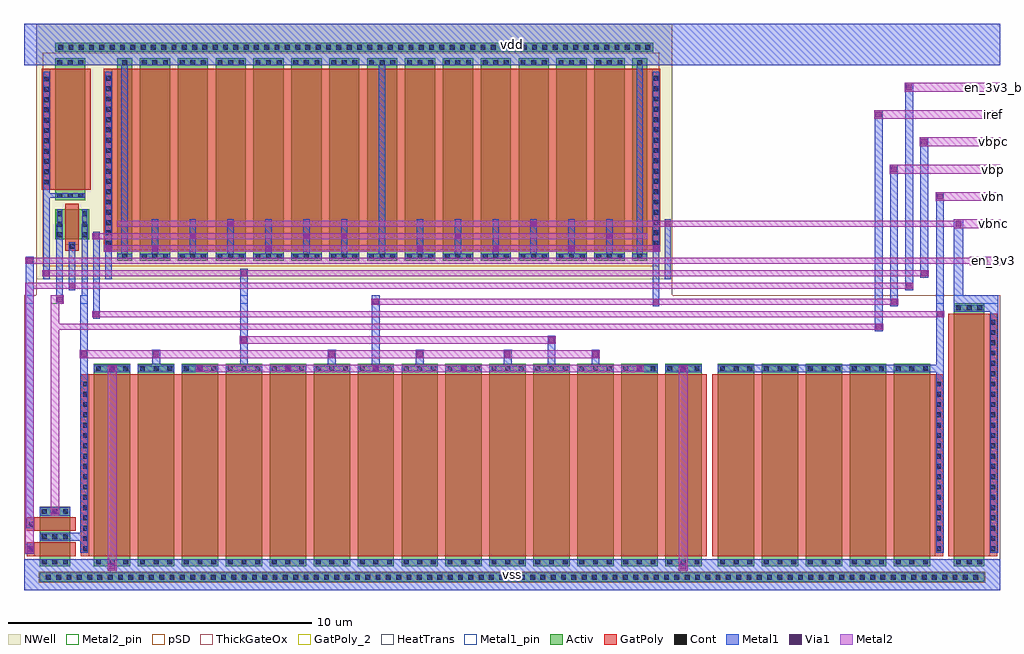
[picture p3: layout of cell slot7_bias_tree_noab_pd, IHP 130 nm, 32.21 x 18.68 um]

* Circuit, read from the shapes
.subckt slot7_bias_tree_noab_pd en_3v3 en_3v3_b iref vbn vbnc vbp vbpc vdd vss
XM1 slot7_tree_nmos_0/ni en_3v3_b vss vss sg13_hv_nmos w=1u l=0.45u
XM2 iref en_3v3 slot7_tree_nmos_0/ni vss sg13_hv_nmos w=1u l=0.45u
XM3 vss slot7_tree_nmos_0/ni vss vss sg13_hv_nmos w=1.2u l=6u m=2
XM4 slot7_tree_nmos_0/ni slot7_tree_nmos_0/ni vss vss sg13_hv_nmos w=1.2u l=6u m=5
XM5 vbp slot7_tree_nmos_0/ni vss vss sg13_hv_nmos w=1.2u l=6u m=5
XM6 vbpc slot7_tree_nmos_0/ni vss vss sg13_hv_nmos w=1.2u l=6u m=2
XM7 vbn vbn vss vss sg13_hv_nmos w=1.2u l=6u m=5
XM8 vbnc vbnc vss vss sg13_hv_nmos w=1u l=8u
XM9 vdd vbpc vbpc vdd sg13_hv_pmos w=1u l=4u
XM10 slot7_tree_nmos_0/ni en_3v3_b iref vdd sg13_hv_pmos w=1u l=0.45u
XM11 vdd vbp vdd vdd sg13_hv_pmos w=0.5u l=6u m=2
XM12 vdd vbp vbp vdd sg13_hv_pmos w=1u l=6u m=5
XM13 vdd vbp vbn vdd sg13_hv_pmos w=1u l=6u m=5
XM14 vdd vbp vbnc vdd sg13_hv_pmos w=1u l=6u m=2
XM15 vdd vbp vdd vdd sg13_hv_pmos w=1u l=6u
.ends

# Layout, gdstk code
from math import pi, radians
import gdstk
lib = gdstk.Library(unit=1e-6, precision=1e-09)
def R(c, l, rs):  # rectangles x0, y0, x1, y1
    for r in rs: c.add(gdstk.rectangle(r[:2], r[2:], *l))
def A(c, l, x, y, w, h, nx, ny, dx, dy):  # array of equal rectangles
    R(c, l, [(x+i*dx, y+j*dy, x+i*dx+w, y+j*dy+h) for i in range(nx) for j in range(ny)])
Activ = (1, 0)
GatPoly = (5, 0)
GatPoly_2 = (5, 2)
Cont = (6, 0)
Metal1 = (8, 0)
Metal1_pin = (8, 2)
Metal2 = (10, 0)
Metal2_pin = (10, 2)
pSD = (14, 0)
Via1 = (19, 0)
NWell = (31, 0)
ThickGateOx = (44, 0)
HeatTrans = (51, 0)

slot7_tree_nmos_nmoshv_w = lib.new_cell('slot7_tree_nmos_nmosHV_w1p2_l6')
R(slot7_tree_nmos_nmoshv_w, Activ, [(0,0,0.3,0.3), (0,0,6.68,1.2), (6.38,0,6.68,0.3)])
R(slot7_tree_nmos_nmoshv_w, GatPoly, [(0.34,-0.18,6.34,1.38)])
R(slot7_tree_nmos_nmoshv_w, GatPoly_2, [(0.34,-0.18,6.34,1.38)])
A(slot7_tree_nmos_nmoshv_w, Cont, 0.07, 0.07, 0.16, 0.16, 1, 3, 0, 0.45)
A(slot7_tree_nmos_nmoshv_w, Cont, 6.45, 0.07, 0.16, 0.16, 1, 3, 0, 0.45)
R(slot7_tree_nmos_nmoshv_w, Metal1, [(0.07,0,0.23,1.2), (6.45,0,6.61,1.2)])
R(slot7_tree_nmos_nmoshv_w, Metal1_pin, [(0.07,0,0.23,1.2), (6.45,0,6.61,1.2)])
R(slot7_tree_nmos_nmoshv_w, ThickGateOx, [(-0.27,-0.52,6.95,1.72)])
R(slot7_tree_nmos_nmoshv_w, HeatTrans, [(0.34,-0.18,6.34,1.38)])
slot7_tree_nmos_nmoshv_w.add(gdstk.Label('nmosHV', (3.34,0.6), layer=63, texttype=0))
slot7_tree_nmos_nmoshv_w.add(gdstk.Label('nmosHV', (3.34,0.6), layer=51, texttype=0))

c_slot7_tree_nmos_nmoshv_w = lib.new_cell('slot7_tree_nmos_nmosHV_w1_l8')
R(c_slot7_tree_nmos_nmoshv_w, Activ, [(0,0,0.3,0.3), (0,0,8.68,1), (8.38,0,8.68,0.3)])
R(c_slot7_tree_nmos_nmoshv_w, GatPoly, [(0.34,-0.18,8.34,1.18)])
R(c_slot7_tree_nmos_nmoshv_w, GatPoly_2, [(0.34,-0.18,8.34,1.18)])
A(c_slot7_tree_nmos_nmoshv_w, Cont, 0.07, 0.07, 0.16, 0.16, 1, 3, 0, 0.35)
A(c_slot7_tree_nmos_nmoshv_w, Cont, 8.45, 0.07, 0.16, 0.16, 1, 3, 0, 0.35)
R(c_slot7_tree_nmos_nmoshv_w, Metal1, [(0.07,0,0.23,1), (8.45,0,8.61,1)])
R(c_slot7_tree_nmos_nmoshv_w, Metal1_pin, [(0.07,0,0.23,1), (8.45,0,8.61,1)])
R(c_slot7_tree_nmos_nmoshv_w, ThickGateOx, [(-0.27,-0.52,8.95,1.52)])
R(c_slot7_tree_nmos_nmoshv_w, HeatTrans, [(0.34,-0.18,8.34,1.18)])
c_slot7_tree_nmos_nmoshv_w.add(gdstk.Label('nmosHV', (4.34,0.5), layer=63, texttype=0))
c_slot7_tree_nmos_nmoshv_w.add(gdstk.Label('nmosHV', (4.34,0.5), layer=51, texttype=0))

c_slot7_tree_nmos_nmoshv_w_ = lib.new_cell('slot7_tree_nmos_nmosHV_w2_l0p45_ng2')
A(c_slot7_tree_nmos_nmoshv_w_, Activ, 0, 0, 0.3, 0.3, 3, 1, 0.83, 0)
R(c_slot7_tree_nmos_nmoshv_w_, Activ, [(0,0,1.96,1)])
R(c_slot7_tree_nmos_nmoshv_w_, GatPoly, [(0.34,-0.18,0.79,1.18), (1.17,-0.18,1.62,1.18)])
R(c_slot7_tree_nmos_nmoshv_w_, GatPoly_2, [(0.34,-0.18,0.79,1.18)])
A(c_slot7_tree_nmos_nmoshv_w_, Cont, 0.07, 0.07, 0.16, 0.16, 3, 3, 0.83, 0.35)
A(c_slot7_tree_nmos_nmoshv_w_, Metal1, 0.07, 0, 0.16, 1, 3, 1, 0.83, 0)
R(c_slot7_tree_nmos_nmoshv_w_, Metal1_pin, [(0.07,0,0.23,1), (0.9,0,1.06,1)])
R(c_slot7_tree_nmos_nmoshv_w_, ThickGateOx, [(-0.27,-0.52,2.23,1.52)])
R(c_slot7_tree_nmos_nmoshv_w_, HeatTrans, [(0.34,-0.18,0.79,1.18), (1.17,-0.18,1.62,1.18)])
c_slot7_tree_nmos_nmoshv_w_.add(gdstk.Label('nmosHV', (0.565,0.5), layer=63, texttype=0))
c_slot7_tree_nmos_nmoshv_w_.add(gdstk.Label('nmosHV', (0.565,0.5), layer=51, texttype=0))
c_slot7_tree_nmos_nmoshv_w_.add(gdstk.Label('nmosHV', (1.395,0.5), layer=51, texttype=0))

slot7_tree_nmos = lib.new_cell('slot7_tree_nmos')
R(slot7_tree_nmos, Activ, [(-1.79,-0.51,29.38,-0.21)])
R(slot7_tree_nmos, GatPoly, [(-2.22,0.34,-1.97,0.79), (-0.43,0.34,-0.18,6.34), (27.77,0.34,28.02,6.34), (29.56,0.34,29.81,8.34), (-2.22,1.17,-1.97,1.62)])
A(slot7_tree_nmos, Cont, -1.585, -0.44, 0.16, 0.16, 91, 1, 0.34, 0)
A(slot7_tree_nmos, Cont, -0.36, 0.5, 0.16, 0.16, 1, 17, 0, 0.34)
A(slot7_tree_nmos, Cont, 27.79, 0.5, 0.16, 0.16, 1, 17, 0, 0.34)
A(slot7_tree_nmos, Cont, 29.58, 0.5, 0.16, 0.16, 1, 23, 0, 0.34)
R(slot7_tree_nmos, Cont, [(-2.15,0.485,-1.99,0.645), (-2.15,1.315,-1.99,1.475)])
A(slot7_tree_nmos, Metal1, 0, 6.4, 1.2, 0.26, 14, 1, 1.45, 0)
A(slot7_tree_nmos, Metal1, 7.72, 6.4, 0.26, 0.745, 4, 1, 2.9, 0)
R(slot7_tree_nmos, Metal1, [(-2.31,-0.78,29.9,0.23), (-2.27,0.42,-1.99,0.745), (-0.46,0.45,-0.2,8.95), (27.79,0.45,28.05,8.95), (29.58,0.45,29.84,8.66), (-1.79,0.85,-0.2,1.11), (-2.25,1.265,-1.99,8.95), (-1.79,1.665,-0.79,1.955), (1.92,6.4,2.18,7.145), (4.82,6.4,5.08,8.95), (9.17,6.4,9.43,8.95), (14.97,6.4,15.23,7.615), (20.59,6.4,28.05,6.66), (28.38,8.4,29.84,8.95)])
R(slot7_tree_nmos, Metal1_pin, [(-2.31,-0.78,-1.31,-0.48), (-2.25,8.66,-1.99,8.95), (-0.46,8.66,-0.2,8.95), (4.82,8.66,5.08,8.95), (9.17,8.66,9.43,8.95), (27.79,8.66,28.05,8.95), (28.38,8.66,29.84,8.95)])
R(slot7_tree_nmos, Metal2, [(0.455,-0.15,0.745,6.645), (19.305,-0.15,19.595,6.645), (-2.27,0.44,-1.99,8.95), (-1.43,1.665,-1.15,8.95), (3.355,6.4,18.145,6.66), (-0.475,6.87,16.695,7.13), (4.805,7.34,15.245,7.6)])
R(slot7_tree_nmos, Metal2_pin, [(-2.27,8.66,-1.99,8.95), (-1.43,8.66,-1.15,8.95)])
R(slot7_tree_nmos, pSD, [(-1.82,-0.54,29.41,-0.18)])
A(slot7_tree_nmos, Via1, 0.505, 6.435, 0.19, 0.19, 5, 1, 2.9, 0)
A(slot7_tree_nmos, Via1, 7.755, 6.905, 0.19, 0.19, 4, 1, 2.9, 0)
R(slot7_tree_nmos, Via1, [(0.505,-0.095,0.695,0.095), (19.355,-0.095,19.545,0.095), (-2.225,0.49,-2.035,0.68), (-1.385,1.715,-1.195,1.905), (17.905,6.435,18.095,6.625), (19.355,6.435,19.545,6.625), (-0.425,6.905,-0.235,7.095), (1.955,6.905,2.145,7.095), (4.855,7.375,5.045,7.565), (15.005,7.375,15.195,7.565)])
R(slot7_tree_nmos, ThickGateOx, [(-2.31,-0.78,29.9,8.95)])
slot7_tree_nmos.add(gdstk.Reference(slot7_tree_nmos_nmoshv_w, (1.45,0), rotation=pi/2, x_reflection=True))
slot7_tree_nmos.add(gdstk.Reference(slot7_tree_nmos_nmoshv_w, (26.39,0), rotation=pi/2, x_reflection=True))
slot7_tree_nmos.add(gdstk.Reference(slot7_tree_nmos_nmoshv_w, (24.94,0), rotation=pi/2, x_reflection=True))
slot7_tree_nmos.add(gdstk.Reference(slot7_tree_nmos_nmoshv_w, (23.49,0), rotation=pi/2, x_reflection=True))
slot7_tree_nmos.add(gdstk.Reference(slot7_tree_nmos_nmoshv_w, (22.04,0), rotation=pi/2, x_reflection=True))
slot7_tree_nmos.add(gdstk.Reference(slot7_tree_nmos_nmoshv_w, (20.59,0), rotation=pi/2, x_reflection=True))
slot7_tree_nmos.add(gdstk.Reference(slot7_tree_nmos_nmoshv_w, (18.85,0), rotation=pi/2, x_reflection=True))
slot7_tree_nmos.add(gdstk.Reference(slot7_tree_nmos_nmoshv_w, (17.4,0), rotation=pi/2, x_reflection=True))
slot7_tree_nmos.add(gdstk.Reference(slot7_tree_nmos_nmoshv_w, (15.95,0), rotation=pi/2, x_reflection=True))
slot7_tree_nmos.add(gdstk.Reference(slot7_tree_nmos_nmoshv_w, (14.5,0), rotation=pi/2, x_reflection=True))
slot7_tree_nmos.add(gdstk.Reference(slot7_tree_nmos_nmoshv_w, (13.05,0), rotation=pi/2, x_reflection=True))
slot7_tree_nmos.add(gdstk.Reference(slot7_tree_nmos_nmoshv_w, (11.6,0), rotation=pi/2, x_reflection=True))
slot7_tree_nmos.add(gdstk.Reference(slot7_tree_nmos_nmoshv_w, (10.15,0), rotation=pi/2, x_reflection=True))
slot7_tree_nmos.add(gdstk.Reference(slot7_tree_nmos_nmoshv_w, (8.7,0), rotation=pi/2, x_reflection=True))
slot7_tree_nmos.add(gdstk.Reference(slot7_tree_nmos_nmoshv_w, (7.25,0), rotation=pi/2, x_reflection=True))
slot7_tree_nmos.add(gdstk.Reference(slot7_tree_nmos_nmoshv_w, (5.8,0), rotation=pi/2, x_reflection=True))
slot7_tree_nmos.add(gdstk.Reference(slot7_tree_nmos_nmoshv_w, (4.35,0), rotation=pi/2, x_reflection=True))
slot7_tree_nmos.add(gdstk.Reference(slot7_tree_nmos_nmoshv_w, (2.9,0), rotation=pi/2, x_reflection=True))
slot7_tree_nmos.add(gdstk.Reference(slot7_tree_nmos_nmoshv_w, (0,0), rotation=pi/2, x_reflection=True))
slot7_tree_nmos.add(gdstk.Reference(c_slot7_tree_nmos_nmoshv_w, (28.38,0), rotation=pi/2, x_reflection=True))
slot7_tree_nmos.add(gdstk.Reference(c_slot7_tree_nmos_nmoshv_w_, (-1.79,0), rotation=pi/2, x_reflection=True))
slot7_tree_nmos.add(gdstk.Label('vss', (-1.81,-0.63), layer=8, texttype=25))
slot7_tree_nmos.add(gdstk.Label('ni', (-0.33,8.805), layer=8, texttype=25))
slot7_tree_nmos.add(gdstk.Label('vbn', (27.92,8.805), layer=8, texttype=25))
slot7_tree_nmos.add(gdstk.Label('vbpc', (4.95,8.805), layer=8, texttype=25))
slot7_tree_nmos.add(gdstk.Label('vbp', (9.3,8.805), layer=8, texttype=25))
slot7_tree_nmos.add(gdstk.Label('vbnc', (29.11,8.805), layer=8, texttype=25))
slot7_tree_nmos.add(gdstk.Label('en_3v3', (-2.12,8.805), layer=8, texttype=25))
slot7_tree_nmos.add(gdstk.Label('en_3v3_b', (-2.13,8.805), layer=10, texttype=25))
slot7_tree_nmos.add(gdstk.Label('iref', (-1.29,8.805), layer=10, texttype=25))
slot7_tree_nmos.add(gdstk.Label('d', (0.6,3.34), layer=63, texttype=0))
slot7_tree_nmos.add(gdstk.Label('A', (2.05,3.34), layer=63, texttype=0))
slot7_tree_nmos.add(gdstk.Label('B', (3.5,3.34), layer=63, texttype=0))
slot7_tree_nmos.add(gdstk.Label('C', (4.95,3.34), layer=63, texttype=0))
slot7_tree_nmos.add(gdstk.Label('B', (6.4,3.34), layer=63, texttype=0))
slot7_tree_nmos.add(gdstk.Label('A', (7.85,3.34), layer=63, texttype=0))
slot7_tree_nmos.add(gdstk.Label('B', (9.3,3.34), layer=63, texttype=0))
slot7_tree_nmos.add(gdstk.Label('A', (10.75,3.34), layer=63, texttype=0))
slot7_tree_nmos.add(gdstk.Label('B', (12.2,3.34), layer=63, texttype=0))
slot7_tree_nmos.add(gdstk.Label('A', (13.65,3.34), layer=63, texttype=0))
slot7_tree_nmos.add(gdstk.Label('C', (15.1,3.34), layer=63, texttype=0))
slot7_tree_nmos.add(gdstk.Label('A', (16.55,3.34), layer=63, texttype=0))
slot7_tree_nmos.add(gdstk.Label('B', (18,3.34), layer=63, texttype=0))
slot7_tree_nmos.add(gdstk.Label('d', (19.45,3.34), layer=63, texttype=0))
slot7_tree_nmos.add(gdstk.Label('N', (21.19,3.34), layer=63, texttype=0))
slot7_tree_nmos.add(gdstk.Label('N', (22.64,3.34), layer=63, texttype=0))
slot7_tree_nmos.add(gdstk.Label('N', (24.09,3.34), layer=63, texttype=0))
slot7_tree_nmos.add(gdstk.Label('N', (25.54,3.34), layer=63, texttype=0))
slot7_tree_nmos.add(gdstk.Label('N', (26.99,3.34), layer=63, texttype=0))
slot7_tree_nmos.add(gdstk.Label('c', (28.88,4.34), layer=63, texttype=0))
slot7_tree_nmos.add(gdstk.Label('s', (-1.29,1), layer=63, texttype=0))

slot7_tree_pmos_bpc_w1l4 = lib.new_cell('slot7_tree_pmos_bpc_w1l4')
R(slot7_tree_pmos_bpc_w1l4, Activ, [(0,0,0.3,0.3), (0,0,4.68,1), (4.38,0,4.68,0.3)])
R(slot7_tree_pmos_bpc_w1l4, GatPoly, [(0.34,-0.18,4.34,1.18)])
R(slot7_tree_pmos_bpc_w1l4, GatPoly_2, [(0.34,-0.18,4.34,1.18)])
A(slot7_tree_pmos_bpc_w1l4, Cont, 0.07, 0.07, 0.16, 0.16, 1, 3, 0, 0.35)
A(slot7_tree_pmos_bpc_w1l4, Cont, 4.45, 0.07, 0.16, 0.16, 1, 3, 0, 0.35)
R(slot7_tree_pmos_bpc_w1l4, Metal1, [(0.07,0,0.23,1), (4.45,0,4.61,1)])
R(slot7_tree_pmos_bpc_w1l4, Metal1_pin, [(0.07,0,0.23,1), (4.45,0,4.61,1)])
R(slot7_tree_pmos_bpc_w1l4, pSD, [(-0.18,-0.4,4.86,1.4)])
R(slot7_tree_pmos_bpc_w1l4, NWell, [(-0.62,-0.62,5.3,1.62)])
R(slot7_tree_pmos_bpc_w1l4, ThickGateOx, [(-0.62,-0.62,5.3,1.62)])
R(slot7_tree_pmos_bpc_w1l4, HeatTrans, [(0.34,-0.18,4.34,1.18)])
slot7_tree_pmos_bpc_w1l4.add(gdstk.Label('pmosHV', (2.34,0.5), layer=63, texttype=0))
slot7_tree_pmos_bpc_w1l4.add(gdstk.Label('pmos', (2.34,0.5), layer=51, texttype=0))

slot7_tree_pmos_tgp_w1l0 = lib.new_cell('slot7_tree_pmos_tgp_w1l045')
R(slot7_tree_pmos_tgp_w1l0, Activ, [(0,0,0.3,0.3), (0,0,1.13,1), (0.83,0,1.13,0.3)])
R(slot7_tree_pmos_tgp_w1l0, GatPoly, [(0.34,-0.18,0.79,1.18)])
R(slot7_tree_pmos_tgp_w1l0, GatPoly_2, [(0.34,-0.18,0.79,1.18)])
A(slot7_tree_pmos_tgp_w1l0, Cont, 0.07, 0.07, 0.16, 0.16, 1, 3, 0, 0.35)
A(slot7_tree_pmos_tgp_w1l0, Cont, 0.9, 0.07, 0.16, 0.16, 1, 3, 0, 0.35)
R(slot7_tree_pmos_tgp_w1l0, Metal1, [(0.07,0,0.23,1), (0.9,0,1.06,1)])
R(slot7_tree_pmos_tgp_w1l0, Metal1_pin, [(0.07,0,0.23,1), (0.9,0,1.06,1)])
R(slot7_tree_pmos_tgp_w1l0, pSD, [(-0.18,-0.4,1.31,1.4)])
R(slot7_tree_pmos_tgp_w1l0, NWell, [(-0.62,-0.62,1.75,1.62)])
R(slot7_tree_pmos_tgp_w1l0, ThickGateOx, [(-0.62,-0.62,1.75,1.62)])
R(slot7_tree_pmos_tgp_w1l0, HeatTrans, [(0.34,-0.18,0.79,1.18)])
slot7_tree_pmos_tgp_w1l0.add(gdstk.Label('pmosHV', (0.565,0.5), layer=63, texttype=0))
slot7_tree_pmos_tgp_w1l0.add(gdstk.Label('pmos', (0.565,0.5), layer=51, texttype=0))

slot7_tree_pmos_u1l6 = lib.new_cell('slot7_tree_pmos_u1l6')
R(slot7_tree_pmos_u1l6, Activ, [(0,0,0.3,0.3), (0,0,6.68,1), (6.38,0,6.68,0.3)])
R(slot7_tree_pmos_u1l6, GatPoly, [(0.34,-0.18,6.34,1.18)])
R(slot7_tree_pmos_u1l6, GatPoly_2, [(0.34,-0.18,6.34,1.18)])
A(slot7_tree_pmos_u1l6, Cont, 0.07, 0.07, 0.16, 0.16, 1, 3, 0, 0.35)
A(slot7_tree_pmos_u1l6, Cont, 6.45, 0.07, 0.16, 0.16, 1, 3, 0, 0.35)
R(slot7_tree_pmos_u1l6, Metal1, [(0.07,0,0.23,1), (6.45,0,6.61,1)])
R(slot7_tree_pmos_u1l6, Metal1_pin, [(0.07,0,0.23,1), (6.45,0,6.61,1)])
R(slot7_tree_pmos_u1l6, pSD, [(-0.18,-0.4,6.86,1.4)])
R(slot7_tree_pmos_u1l6, NWell, [(-0.62,-0.62,7.3,1.62)])
R(slot7_tree_pmos_u1l6, ThickGateOx, [(-0.62,-0.62,7.3,1.62)])
R(slot7_tree_pmos_u1l6, HeatTrans, [(0.34,-0.18,6.34,1.18)])
slot7_tree_pmos_u1l6.add(gdstk.Label('pmosHV', (3.34,0.5), layer=63, texttype=0))
slot7_tree_pmos_u1l6.add(gdstk.Label('pmos', (3.34,0.5), layer=51, texttype=0))

slot7_tree_pmos_r05l6 = lib.new_cell('slot7_tree_pmos_r05l6')
R(slot7_tree_pmos_r05l6, Activ, [(0,0,0.3,0.3), (0,0,6.68,0.5), (6.38,0,6.68,0.3)])
R(slot7_tree_pmos_r05l6, GatPoly, [(0.34,-0.18,6.34,0.68)])
R(slot7_tree_pmos_r05l6, GatPoly_2, [(0.34,-0.18,6.34,0.68)])
R(slot7_tree_pmos_r05l6, Cont, [(0.07,0.17,0.23,0.33), (6.45,0.17,6.61,0.33)])
R(slot7_tree_pmos_r05l6, Metal1, [(0.07,0,0.23,0.5), (6.45,0,6.61,0.5)])
R(slot7_tree_pmos_r05l6, Metal1_pin, [(0.07,0,0.23,0.5), (6.45,0,6.61,0.5)])
R(slot7_tree_pmos_r05l6, pSD, [(-0.18,-0.4,6.86,0.9)])
R(slot7_tree_pmos_r05l6, NWell, [(-0.62,-0.62,7.3,1.12)])
R(slot7_tree_pmos_r05l6, ThickGateOx, [(-0.62,-0.62,7.3,1.12)])
R(slot7_tree_pmos_r05l6, HeatTrans, [(0.34,-0.18,6.34,0.68)])
slot7_tree_pmos_r05l6.add(gdstk.Label('pmosHV', (3.34,0.25), layer=63, texttype=0))
slot7_tree_pmos_r05l6.add(gdstk.Label('pmos', (3.34,0.25), layer=51, texttype=0))

slot7_tree_pmos = lib.new_cell('slot7_tree_pmos')
R(slot7_tree_pmos, Activ, [(0.62,7.51,20.365,7.81)])
R(slot7_tree_pmos, GatPoly, [(0.96,0.95,1.41,1.14), (2.23,0.96,2.665,6.96), (20.165,0.96,20.6,6.96), (0.185,2.96,0.62,6.96)])
A(slot7_tree_pmos, Cont, 2.3, 1.115, 0.16, 0.16, 1, 17, 0, 0.34)
A(slot7_tree_pmos, Cont, 20.37, 1.115, 0.16, 0.16, 1, 17, 0, 0.34)
A(slot7_tree_pmos, Cont, 0.255, 3.135, 0.16, 0.16, 1, 11, 0, 0.34)
A(slot7_tree_pmos, Cont, 0.725, 7.58, 0.16, 0.16, 58, 1, 0.34, 0)
R(slot7_tree_pmos, Cont, [(1.105,1.02,1.265,1.18)])
A(slot7_tree_pmos, Metal1, 2.81, 0.69, 0.21, 6.54, 3, 1, 8.5, 0)
A(slot7_tree_pmos, Metal1, 3.81, 0.69, 0.21, 1.295, 6, 1, 1.25, 0)
A(slot7_tree_pmos, Metal1, 12.56, 0.69, 0.21, 1.295, 6, 1, 1.25, 0)
R(slot7_tree_pmos, Metal1, [(0.23,0,0.44,6.85), (0.665,0,0.875,1.82), (1.08,0,1.29,1.23), (1.495,0,1.705,1.82), (1.885,0,2.095,1.575), (2.275,0,2.485,6.85), (20.345,0,20.555,6.85), (20.735,0,20.945,1.985), (0.43,2.69,0.63,2.85), (0,7.07,20.985,8.43)])
A(slot7_tree_pmos, Metal1_pin, 0.665, 0, 0.21, 0.3, 3, 1, 0.415, 0)
R(slot7_tree_pmos, Metal1_pin, [(0.23,0,0.44,0.3), (1.885,0,2.095,0.3), (2.275,0,2.485,0.3), (20.735,0,20.945,0.3), (0,8.13,20.985,8.43)])
R(slot7_tree_pmos, Metal2, [(2.235,0.92,20.595,1.12), (1.845,1.33,20.165,1.53), (2.665,1.74,20.985,1.94)])
R(slot7_tree_pmos, pSD, [(0.22,0.44,20.565,7.48)])
A(slot7_tree_pmos, Via1, 12.57, 0.925, 0.19, 0.19, 3, 1, 2.5, 0)
R(slot7_tree_pmos, Via1, [(2.285,0.925,2.475,1.115), (3.82,0.925,4.01,1.115), (7.57,0.925,7.76,1.115), (20.355,0.925,20.545,1.115), (1.895,1.335,2.085,1.525), (5.07,1.335,5.26,1.525), (8.82,1.335,9.01,1.525), (10.07,1.335,10.26,1.525), (13.82,1.335,14.01,1.525), (18.82,1.335,19.01,1.525), (6.32,1.745,6.51,1.935), (16.32,1.745,16.51,1.935), (20.745,1.745,20.935,1.935)])
R(slot7_tree_pmos, NWell, [(0,0,20.985,8.43)])
R(slot7_tree_pmos, ThickGateOx, [(0,0,20.985,8.43)])
slot7_tree_pmos.add(gdstk.Reference(slot7_tree_pmos_bpc_w1l4, (0.62,7.3), rotation=3*pi/2))
slot7_tree_pmos.add(gdstk.Reference(slot7_tree_pmos_tgp_w1l0, (0.62,1.32)))
slot7_tree_pmos.add(gdstk.Reference(slot7_tree_pmos_u1l6, (9.665,7.3), rotation=3*pi/2))
slot7_tree_pmos.add(gdstk.Reference(slot7_tree_pmos_u1l6, (18.415,7.3), rotation=3*pi/2))
slot7_tree_pmos.add(gdstk.Reference(slot7_tree_pmos_u1l6, (17.165,7.3), rotation=3*pi/2))
slot7_tree_pmos.add(gdstk.Reference(slot7_tree_pmos_u1l6, (15.915,7.3), rotation=3*pi/2))
slot7_tree_pmos.add(gdstk.Reference(slot7_tree_pmos_u1l6, (14.665,7.3), rotation=3*pi/2))
slot7_tree_pmos.add(gdstk.Reference(slot7_tree_pmos_u1l6, (13.415,7.3), rotation=3*pi/2))
slot7_tree_pmos.add(gdstk.Reference(slot7_tree_pmos_u1l6, (12.165,7.3), rotation=3*pi/2))
slot7_tree_pmos.add(gdstk.Reference(slot7_tree_pmos_u1l6, (10.915,7.3), rotation=3*pi/2))
slot7_tree_pmos.add(gdstk.Reference(slot7_tree_pmos_u1l6, (8.415,7.3), rotation=3*pi/2))
slot7_tree_pmos.add(gdstk.Reference(slot7_tree_pmos_u1l6, (7.165,7.3), rotation=3*pi/2))
slot7_tree_pmos.add(gdstk.Reference(slot7_tree_pmos_u1l6, (5.915,7.3), rotation=3*pi/2))
slot7_tree_pmos.add(gdstk.Reference(slot7_tree_pmos_u1l6, (4.665,7.3), rotation=3*pi/2))
slot7_tree_pmos.add(gdstk.Reference(slot7_tree_pmos_u1l6, (3.415,7.3), rotation=3*pi/2))
slot7_tree_pmos.add(gdstk.Reference(slot7_tree_pmos_r05l6, (2.665,7.3), rotation=3*pi/2))
slot7_tree_pmos.add(gdstk.Reference(slot7_tree_pmos_r05l6, (19.665,7.3), rotation=3*pi/2))
slot7_tree_pmos.add(gdstk.Label('vbpc', (0.335,0.15), layer=8, texttype=25))
slot7_tree_pmos.add(gdstk.Label('iref', (0.77,0.15), layer=8, texttype=25))
slot7_tree_pmos.add(gdstk.Label('ni', (1.6,0.15), layer=8, texttype=25))
slot7_tree_pmos.add(gdstk.Label('en_3v3_b', (1.185,0.15), layer=8, texttype=25))
slot7_tree_pmos.add(gdstk.Label('vbp', (2.38,0.15), layer=8, texttype=25))
slot7_tree_pmos.add(gdstk.Label('vbn', (1.99,0.15), layer=8, texttype=25))
slot7_tree_pmos.add(gdstk.Label('vbnc', (20.84,0.15), layer=8, texttype=25))
slot7_tree_pmos.add(gdstk.Label('vdd', (10.49,8.28), layer=8, texttype=25))
slot7_tree_pmos.add(gdstk.Label('r', (2.915,4.12), layer=63, texttype=0))
slot7_tree_pmos.add(gdstk.Label('a', (3.915,4.12), layer=63, texttype=0))
slot7_tree_pmos.add(gdstk.Label('b', (5.165,4.12), layer=63, texttype=0))
slot7_tree_pmos.add(gdstk.Label('c', (6.415,4.12), layer=63, texttype=0))
slot7_tree_pmos.add(gdstk.Label('a', (7.665,4.12), layer=63, texttype=0))
slot7_tree_pmos.add(gdstk.Label('b', (8.915,4.12), layer=63, texttype=0))
slot7_tree_pmos.add(gdstk.Label('b', (10.165,4.12), layer=63, texttype=0))
slot7_tree_pmos.add(gdstk.Label('x', (11.415,4.12), layer=63, texttype=0))
slot7_tree_pmos.add(gdstk.Label('a', (12.665,4.12), layer=63, texttype=0))
slot7_tree_pmos.add(gdstk.Label('b', (13.915,4.12), layer=63, texttype=0))
slot7_tree_pmos.add(gdstk.Label('a', (15.165,4.12), layer=63, texttype=0))
slot7_tree_pmos.add(gdstk.Label('c', (16.415,4.12), layer=63, texttype=0))
slot7_tree_pmos.add(gdstk.Label('a', (17.665,4.12), layer=63, texttype=0))
slot7_tree_pmos.add(gdstk.Label('b', (18.915,4.12), layer=63, texttype=0))
slot7_tree_pmos.add(gdstk.Label('r', (19.915,4.12), layer=63, texttype=0))

slot7_bias_tree_noab_pd = lib.new_cell('slot7_bias_tree_noab_pd')
R(slot7_bias_tree_noab_pd, Metal1, [(28.08,8.545,28.34,15.835), (2.29,8.955,2.5,10.25), (20.75,9.365,20.96,10.25), (28.58,9.365,28.84,14.035), (1.07,9.44,1.28,10.25), (0.06,9.73,0.32,11.005), (1.9,9.73,2.11,10.25), (7.13,9.73,7.39,10.595), (30.1,9.73,30.36,13.135), (30.69,9.73,30.99,12.235), (1.485,9.895,1.695,10.25), (29.08,9.895,29.34,16.735), (29.58,10.305,29.84,14.935), (0,17.32,32.21,18.68)])
R(slot7_bias_tree_noab_pd, Metal1_pin, [(0,0,32.21,1.01), (0,17.32,32.21,18.68)])
R(slot7_bias_tree_noab_pd, Metal2, [(0.88,8.59,28.355,8.79), (2.25,9,30.375,9.2), (11.465,9.41,28.855,9.61), (0.88,9.44,1.32,9.73), (0.04,9.73,0.32,10.14), (0.04,9.94,29.355,10.14), (0.595,10.35,29.855,10.55), (31.21,10.715,32.21,11.005), (0.045,10.76,32.21,10.96), (30.695,11.945,32.21,12.235), (21.34,11.99,30.985,12.19), (30.085,12.845,32.21,13.135), (28.565,13.745,32.21,14.035), (29.565,14.645,32.21,14.935), (28.065,15.545,32.21,15.835), (29.065,16.445,32.21,16.735)])
A(slot7_bias_tree_noab_pd, Metal2_pin, 31.78, 11.945, 0.43, 0.29, 1, 6, 0, 0.9)
R(slot7_bias_tree_noab_pd, Metal2_pin, [(31.78,10.715,32.21,11.005)])
R(slot7_bias_tree_noab_pd, Via1, [(28.115,8.595,28.305,8.785), (2.3,9.005,2.49,9.195), (30.135,9.005,30.325,9.195), (11.515,9.415,11.705,9.605), (20.76,9.415,20.95,9.605), (28.615,9.415,28.805,9.605), (1.08,9.49,1.27,9.68), (1.495,9.945,1.685,10.135), (29.115,9.945,29.305,10.135), (0.645,10.355,0.835,10.545), (7.165,10.355,7.355,10.545), (29.615,10.355,29.805,10.545), (0.095,10.765,0.285,10.955), (30.745,11.995,30.935,12.185), (30.135,12.895,30.325,13.085), (28.615,13.795,28.805,13.985), (29.615,14.695,29.805,14.885), (28.115,15.595,28.305,15.785), (29.115,16.495,29.305,16.685)])
R(slot7_bias_tree_noab_pd, ThickGateOx, [(0.405,9.73,21.39,10.25)])
slot7_bias_tree_noab_pd.add(gdstk.Reference(slot7_tree_nmos, (2.31,0.78)))
slot7_bias_tree_noab_pd.add(gdstk.Reference(slot7_tree_pmos, (0.405,10.25)))
slot7_bias_tree_noab_pd.add(gdstk.Label('vdd', (16.105,18), layer=8, texttype=25))
slot7_bias_tree_noab_pd.add(gdstk.Label('vss', (16.105,0.505), layer=8, texttype=25))
slot7_bias_tree_noab_pd.add(gdstk.Label('iref', (31.995,15.69), layer=10, texttype=25))
slot7_bias_tree_noab_pd.add(gdstk.Label('vbp', (31.995,13.89), layer=10, texttype=25))
slot7_bias_tree_noab_pd.add(gdstk.Label('en_3v3_b', (31.995,16.59), layer=10, texttype=25))
slot7_bias_tree_noab_pd.add(gdstk.Label('vbpc', (31.995,14.79), layer=10, texttype=25))
slot7_bias_tree_noab_pd.add(gdstk.Label('vbn', (31.995,12.99), layer=10, texttype=25))
slot7_bias_tree_noab_pd.add(gdstk.Label('vbnc', (31.995,12.09), layer=10, texttype=25))
slot7_bias_tree_noab_pd.add(gdstk.Label('en_3v3', (31.995,10.86), layer=10, texttype=25))

lib.write_gds('slot7_bias_tree_noab_pd.gds')
